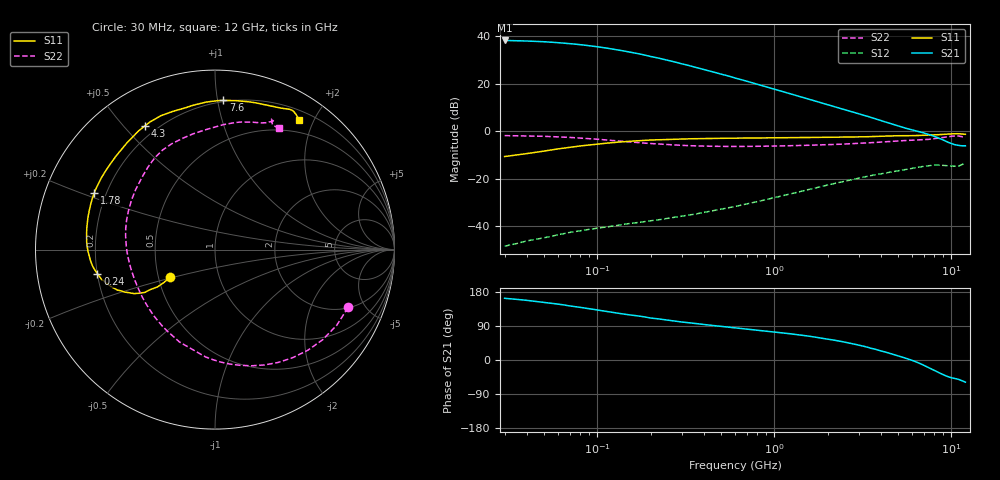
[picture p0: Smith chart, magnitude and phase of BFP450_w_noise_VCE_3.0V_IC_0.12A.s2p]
! (c) 2015  Infineon Technologies AG, Munich
! Infineon Technologies  Discrete & RF Semiconductors
! BFP450
! VCE =  3.0 V,  IC = 0.12 A
! Common Emitter S-Parameters:  Nov 2015
# GHz  S  MA  R  50
!  f  S11  S21  S12  S22
! GHz  MAG  ANG  MAG  ANG  MAG  ANG  MAG  ANG
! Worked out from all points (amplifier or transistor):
!   239 points, 30 MHz to 12 GHz, reference 50 ohm
!   highest |S21| = 38.2 dB at 30 MHz (marker M1)
!   |S21| within 3 dB of that: start of sweep to 108.3 MHz
!   unconditionally stable (mu >= 1): 841.8 MHz to end of sweep
!   at 300 MHz: K = 0.75, MSG = 32.1 dB, |S12| = -35.8 dB
!   at 1.88 GHz: K = 1.09, MAG = 15.6 dB, |S12| = -23.1 dB
!   at 12 GHz: K = 1.08, MAG = 1.9 dB, |S12| = -13.4 dB
!   lowest NFmin = 2.31 dB at 450 MHz
!   S11 on the Smith chart (normalised r, x): 30 MHz: 0.58, -0.19; 240 MHz: 0.20, -0.10; 1.78 GHz: 0.15, +0.22; 4.3 GHz: 0.15, +0.57; 7.6 GHz: 0.19, +1.04; 12 GHz: 0.32, +1.80
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0.03  0.2931 -148.8  81.53 162.8  0.0038 81.8  0.8088 -23.5
0.04  0.338 -147.2  79.36 157.4  0.0049 76.0  0.7985 -31.9
0.05  0.3815 -147.0  76.65 152.0  0.0057 71.1  0.7824 -39.9
0.06  0.4245 -148.3  73.3 147.5  0.0066 69.8  0.763 -47.3
0.07  0.4575 -148.6  69.91 142.7  0.0074 67.9  0.7413 -54.4
0.085  0.5017 -150.9  64.92 137.2  0.0083 64.3  0.7085 -63.9
0.105  0.5457 -154.1  58.66 130.5  0.0093 61.0  0.6689 -75.0
0.13  0.5883 -157.4  51.72 123.7  0.0104 58.8  0.6278 -87.0
0.15  0.6137 -160.2  46.96 119.3  0.0113 58.2  0.6004 -95.0
0.2  0.653 -165.3  37.53 110.8  0.013 57.0  0.5518 -110.9
0.24  0.6686 -168.4  32.36 106.3  0.0143 57.2  0.5265 -120.2
0.3  0.6876 -172.1  26.3 100.3  0.0162 58.0  0.5043 -131.5
0.36  0.6967 -175.0  22.16 96.2  0.0181 59.2  0.4915 -139.6
0.45  0.706 -178.4  17.74 91.0  0.0211 60.5  0.4821 -148.9
0.6  0.7159 177.1  13.21 84.9  0.026 62.0  0.4784 -159.5
1  0.7267 168.4  7.665 74.0  0.0398 62.3  0.4876 -176.1
1.64  0.7403 157.3  4.504 61.6  0.0617 57.4  0.509 167.9
1.78  0.7427 155.0  4.118 59.1  0.0664 56.0  0.5134 165.0
4.3  0.7926 119.4  1.542 20.2  0.1329 26.8  0.6035 125.5
4.5  0.798 117.2  1.457 17.4  0.1369 24.9  0.612 123.2
7.6  0.8327 86.8  0.836 -22.1  0.19 -8.4  0.68 90.9
12  0.8617 57.0  0.494 -58.4  0.2127 -40.5  0.7648 62.2
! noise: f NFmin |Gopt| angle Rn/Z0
0.45  2.31  0.66  -172  0.07
0.9  2.37  0.69  -166  0.09
1.9  2.46  0.7  -149  0.19
2.4  2.55  0.7  -139  0.27
